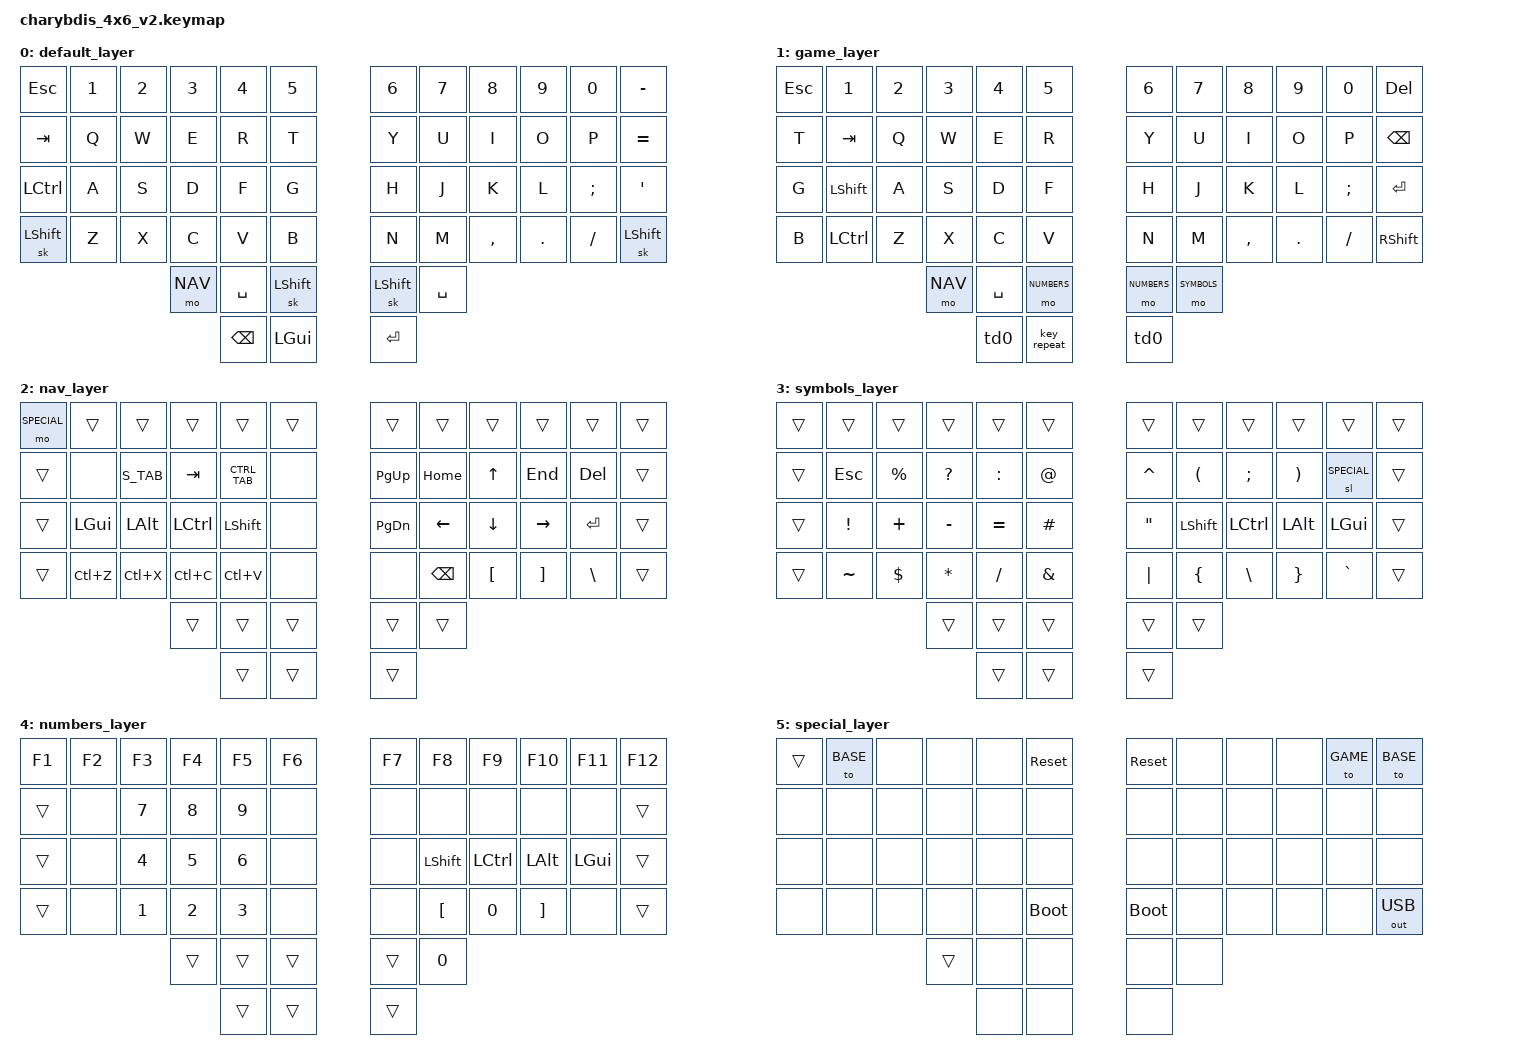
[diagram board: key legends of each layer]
/*
 * Copyright (c) 2020 The ZMK Contributors
 *
 * SPDX-License-Identifier: MIT
 */

#include <behaviors.dtsi>
#include <dt-bindings/zmk/keys.h>
#include <dt-bindings/zmk/bt.h>
#include <dt-bindings/zmk/ext_power.h>
#include <dt-bindings/zmk/outputs.h>

#define BASE 0
#define GAME 1
#define NAV 2
#define SYMBOLS 3
#define NUMBERS 4
#define SPECIAL 5

#define LAUNCHER (LG(TAB))
#define CTRL_TAB (LC(TAB))
#define C_S_TAB (LC(LS(TAB)))
#define SCRNSHOT (LG(LS(S)))

#define SPC_PREVIOUS (LC(LG(LEFT)))
#define S_PRV SPC_PREVIOUS

#define SPC_NEXT (LC(LG(RIGHT)))
#define S_NXT SPC_NEXT

&sk {
  release-after-ms = <200>;
  quick-release;
};

/ {

  chosen {
    zmk,battery = &vbatt;
  };

  vbatt: vbatt {
      compatible = "zmk,battery-nrf-vddh";
      label = "VBATT";
  };
/*
 *  conditional_layers {
 *      compatible = "zmk,conditional-layers";
 *      tri_layer {
 *          if-layers = <2 3>;
 *          then-layer = <4>;
 *      };
 *  };
*/

  behaviors {
      td0: tap_dance_smart_shift {
          compatible = "zmk,behavior-tap-dance";
          label = "TAP_DANCE_SMART_SHIFT";
          #binding-cells = <0>;
          tapping-term-ms = <200>;
          bindings = <&sk LSHIFT>, <&caps_word>;
      };
  };

  keymap {
    compatible = "zmk,keymap";

    default_layer {
      bindings = <
      &kp      ESC &kp       N1 &kp       N2 &kp       N3 &kp       N4 &kp       N5                 &kp       N6 &kp       N7 &kp       N8 &kp       N9 &kp       N0 &kp    MINUS
      &kp      TAB &kp        Q &kp        W &kp        E &kp        R &kp        T                 &kp        Y &kp        U &kp        I &kp        O &kp        P &kp    EQUAL
      &kp    LCTRL &kp        A &kp        S &kp        D &kp        F &kp        G                 &kp        H &kp        J &kp        K &kp        L &kp     SEMI &kp     APOS
      &sk    LSHFT &kp        Z &kp        X &kp        C &kp        V &kp        B                 &kp        N &kp        M &kp    COMMA &kp   PERIOD &kp    SLASH &sk    LSHFT
                                             &mo      NAV &kp    SPACE &sk    LSHFT                 &sk    LSHFT &kp    SPACE
                                                          &kp     BSPC &kp     LGUI                 &kp    ENTER
      >;
    };

    game_layer {
      bindings = <
      &kp      ESC &kp       N1 &kp       N2 &kp       N3 &kp       N4 &kp       N5                 &kp       N6 &kp       N7 &kp       N8 &kp       N9 &kp       N0 &kp      DEL
      &kp        T &kp      TAB &kp        Q &kp        W &kp        E &kp        R                 &kp        Y &kp        U &kp        I &kp        O &kp        P &kp     BSPC
      &kp        G &kp   LSHIFT &kp        A &kp        S &kp        D &kp        F                 &kp        H &kp        J &kp        K &kp        L &kp     SEMI &kp    ENTER
      &kp        B &kp    LCTRL &kp        Z &kp        X &kp        C &kp        V                 &kp        N &kp        M &kp    COMMA &kp   PERIOD &kp    SLASH &kp    RSHFT
                                             &mo      NAV &kp    SPACE &mo  NUMBERS                 &mo  NUMBERS &mo  SYMBOLS
                                                          &td0         &key_repeat                  &td0
      >;
    };

    nav_layer {
      bindings = <
      &mo  SPECIAL &trans       &trans       &trans       &trans       &trans                       &trans       &trans       &trans       &trans       &trans       &trans
      &trans       &none        &kp  C_S_TAB &kp      TAB &kp CTRL_TAB &none                        &kp    PG_UP &kp     HOME &kp       UP &kp      END &kp      DEL &trans
      &trans       &kp     LGUI &kp     LALT &kp    LCTRL &kp   LSHIFT &none                        &kp    PG_DN &kp     LEFT &kp     DOWN &kp    RIGHT &kp    ENTER &trans
      &trans       &kp    LC(Z) &kp    LC(X) &kp    LC(C) &kp    LC(V) &none                        &none        &kp     BSPC &kp     LBKT &kp     RBKT &kp     BSLH &trans
                                             &trans       &trans       &trans                       &trans       &trans
                                                          &trans       &trans                       &trans
      >;
    };

    symbols_layer {
      bindings = <
      &trans       &trans       &trans       &trans       &trans       &trans                       &trans       &trans       &trans       &trans       &trans       &trans
      &trans       &kp      ESC &kp    PRCNT &kp    QMARK &kp    COLON &kp       AT                 &kp    CARET &kp     LPAR &kp     SEMI &kp     RPAR &sl  SPECIAL &trans
      &trans       &kp     EXCL &kp     PLUS &kp    MINUS &kp    EQUAL &kp     HASH                 &kp      DQT &kp   LSHIFT &kp    LCTRL &kp     LALT &kp     LGUI &trans
      &trans       &kp    TILDE &kp   DOLLAR &kp    ASTRK &kp    SLASH &kp     AMPS                 &kp     PIPE &kp     LBRC &kp     BSLH &kp     RBRC &kp    GRAVE &trans
                                             &trans       &trans       &trans                       &trans       &trans
                                                          &trans       &trans                       &trans
      >;
    };

    numbers_layer {
      bindings = <
      &kp       F1 &kp       F2 &kp       F3 &kp       F4 &kp       F5 &kp       F6                 &kp       F7 &kp       F8 &kp       F9 &kp      F10 &kp      F11 &kp      F12
      &trans       &none        &kp       N7 &kp       N8 &kp       N9 &none                        &none        &none        &none        &none        &none        &trans
      &trans       &none        &kp       N4 &kp       N5 &kp       N6 &none                        &none        &kp   LSHIFT &kp    LCTRL &kp     LALT &kp     LGUI &trans
      &trans       &none        &kp       N1 &kp       N2 &kp       N3 &none                        &none        &kp     LBKT &kp       N0 &kp     RBKT &none        &trans
                                             &trans       &trans       &trans                       &trans       &kp       N0
                                                          &trans       &trans                       &trans
      >;
    };

    special_layer {
      bindings = <
      &trans       &to BASE     &none        &none        &none        &sys_reset                   &sys_reset   &none        &none        &none        &to GAME     &to BASE
      &none        &none        &none        &none        &none        &none                        &none        &none        &none        &none        &none        &none
      &none        &none        &none        &none        &none        &none                        &none        &none        &none        &none        &none        &none
      &none        &none        &none        &none        &none        &bootloader                  &bootloader  &none        &none        &none        &none        &out OUT_USB
                                             &trans       &none        &none                        &none        &none
                                                          &none        &none                        &none
      >;
    };

  };

};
